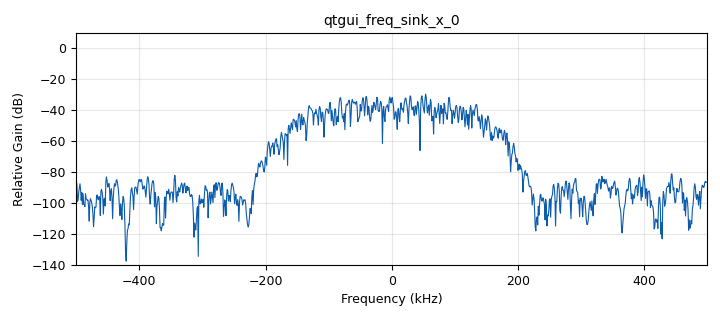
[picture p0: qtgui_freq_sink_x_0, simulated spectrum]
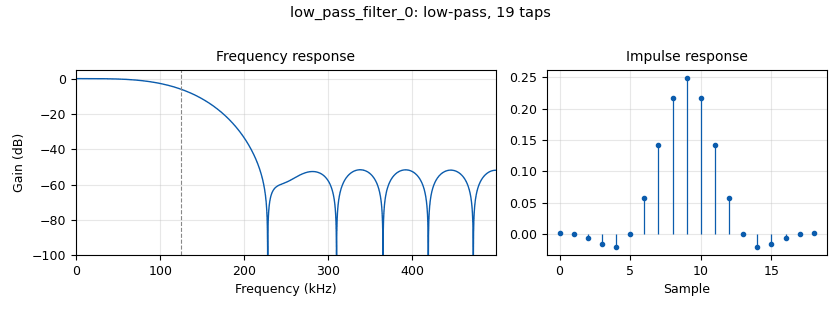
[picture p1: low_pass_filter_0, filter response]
options:
  parameters:
    generate_options: qt_gui
    id: lesson_9_homework
    output_language: python
    title: Not titled yet
  states: {}

blocks:
- name: cutoff_freq_slider
  id: variable_qtgui_range
  parameters:
    start: samp_rate/1000
    step: '1000'
    stop: samp_rate/2
    value: samp_rate/8
    widget: eng_slider
  states: {}
- name: high_cut_slider
  id: variable_qtgui_range
  parameters:
    start: samp_rate/1000
    step: '1000'
    stop: samp_rate/2
    value: samp_rate/4
  states: {}
- name: samp_rate
  id: variable
  parameters:
    value: 1e6
  states: {}
- name: trans_width_slider
  id: variable_qtgui_range
  parameters:
    start: samp_rate/1000
    step: '1000'
    stop: samp_rate/2
    value: samp_rate/8
  states: {}
- name: analog_noise_source_x_0
  id: analog_noise_source_x
  parameters:
    amp: '1'
    noise_type: analog.GR_GAUSSIAN
    seed: '0'
    type: complex
  states: {}
- name: band_pass_filter_0
  id: band_pass_filter
  parameters:
    decim: '1'
    gain: '1'
    high_cutoff_freq: high_cut_slider
    low_cutoff_freq: cutoff_freq_slider
    samp_rate: samp_rate
    type: fir_filter_ccf
    width: trans_width_slider
    win: window.WIN_HAMMING
  states: {state: disabled}
- name: blocks_throttle2_0
  id: blocks_throttle2
  parameters:
    samples_per_second: samp_rate
    type: complex
  states: {}
- name: high_pass_filter_0
  id: high_pass_filter
  parameters:
    cutoff_freq: cutoff_freq_slider
    decim: '1'
    gain: '1'
    samp_rate: samp_rate
    type: fir_filter_ccf
    width: trans_width_slider
    win: window.WIN_HAMMING
  states: {state: disabled}
- name: low_pass_filter_0
  id: low_pass_filter
  parameters:
    cutoff_freq: cutoff_freq_slider
    decim: '1'
    gain: '1'
    samp_rate: samp_rate
    type: fir_filter_ccf
    width: trans_width_slider
    win: window.WIN_HAMMING
  states: {}
- name: qtgui_freq_sink_x_0
  id: qtgui_freq_sink_x
  parameters:
    bw: samp_rate
    ctrlpanel: 'True'
    fc: '0'
    fftsize: '1024'
    type: complex
  states: {}

connections:
- [analog_noise_source_x_0, '0', blocks_throttle2_0, '0']
- [blocks_throttle2_0, '0', low_pass_filter_0, '0']
- [low_pass_filter_0, '0', qtgui_freq_sink_x_0, '0']

metadata:
  file_format: 1
  grc_version: 3.10.12.0
